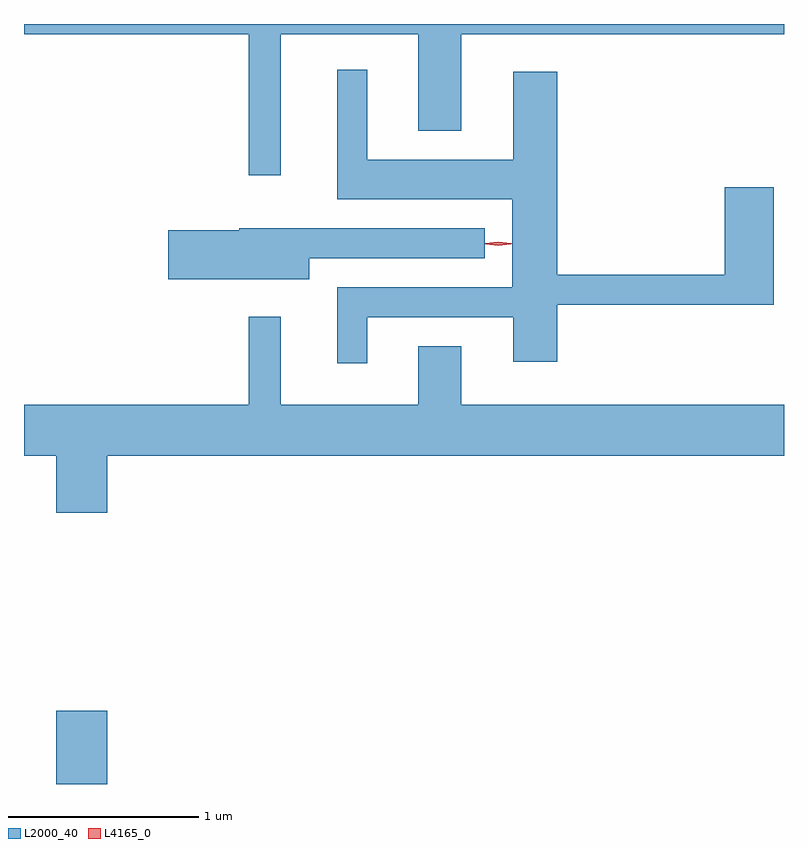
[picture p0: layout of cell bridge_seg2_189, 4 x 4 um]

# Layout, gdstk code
import gdstk
lib = gdstk.Library(unit=1e-6, precision=1e-09)
def R(c, l, rs):  # rectangles x0, y0, x1, y1
    for r in rs: c.add(gdstk.rectangle(r[:2], r[2:], *l))
def P(c, l, *ps):  # polygons
    for p in ps: c.add(gdstk.Polygon(p, *l))
L2000_40 = (2000, 40)
L4165_0 = (4165, 0)

bridge_seg2_189 = lib.new_cell('bridge_seg2_189')
R(bridge_seg2_189, L2000_40, [(674.616,999.969,674.884,1000.354)])
P(bridge_seg2_189, L2000_40, [(675.799,1003.916),(676.521,1003.916),(676.521,1003.406),(676.749,1003.406),(676.749,1003.916),(678.447,1003.916),(678.447,1003.969),(674.447,1003.969),(674.447,1003.916),(675.631,1003.916),(675.631,1003.173),(675.799,1003.173)],
  [(676.254,1002.426),(677.021,1002.426),(677.021,1002.191),(677.254,1002.191),(677.254,1002.491),(678.394,1002.491),(678.394,1003.109),(678.136,1003.109),(678.136,1002.649),(677.254,1002.649),(677.254,1003.719),(677.021,1003.719),(677.021,1003.254),(676.254,1003.254),(676.254,1003.728),(676.096,1003.728),(676.096,1003.046),(677.016,1003.046),(677.016,1002.584),(676.096,1002.584),(676.096,1002.183),(676.254,1002.183)],
  [(675.949,1002.736),(676.873,1002.736),(676.873,1002.894),(675.58,1002.894),(675.58,1002.884),(675.206,1002.884),(675.206,1002.626),(675.949,1002.626)],
  [(674.884,1001.696),(678.447,1001.696),(678.447,1001.964),(676.749,1001.964),(676.749,1002.274),(676.521,1002.274),(676.521,1001.964),(675.799,1001.964),(675.799,1002.428),(675.631,1002.428),(675.631,1001.964),(674.447,1001.964),(674.447,1001.696),(674.616,1001.696),(674.616,1001.396),(674.884,1001.396)])
P(bridge_seg2_189, L4165_0, [(676.943,1002.801),(676.878,1002.811),(676.877,1002.811),(676.878,1002.812),(676.943,1002.821),(677.009,1002.811),(677.009,1002.811),(677.009,1002.81)],
  [(676.943,1002.803),(676.874,1002.813),(676.874,1002.813),(676.874,1002.814),(676.943,1002.823),(677.012,1002.814),(677.013,1002.813),(677.012,1002.813)])

lib.write_gds('bridge_seg2_189.gds')
